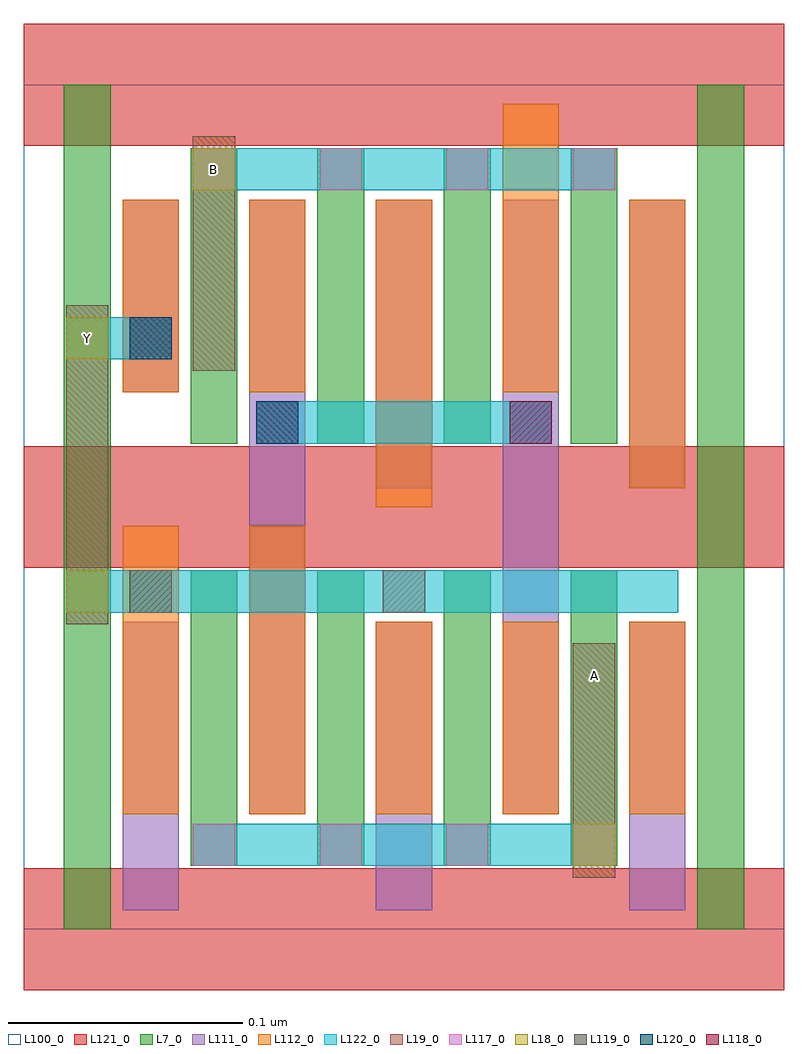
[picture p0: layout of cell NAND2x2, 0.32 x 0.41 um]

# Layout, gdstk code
import gdstk
lib = gdstk.Library(unit=1e-6, precision=2.5e-10)
def R(c, l, rs):  # rectangles x0, y0, x1, y1
    for r in rs: c.add(gdstk.rectangle(r[:2], r[2:], *l))
def A(c, l, x, y, w, h, nx, ny, dx, dy):  # array of equal rectangles
    R(c, l, [(x+i*dx, y+j*dy, x+i*dx+w, y+j*dy+h) for i in range(nx) for j in range(ny)])
L7_0 = (7, 0)
L18_0 = (18, 0)
L19_0 = (19, 0)
L100_0 = (100, 0)
L111_0 = (111, 0)
L112_0 = (112, 0)
L117_0 = (117, 0)
L118_0 = (118, 0)
L119_0 = (119, 0)
L120_0 = (120, 0)
L121_0 = (121, 0)
L122_0 = (122, 0)

nand2x2 = lib.new_cell('NAND2x2')
A(nand2x2, L7_0, 0.071, 0.027, 0.02, 0.126, 4, 2, 0.054, 0.18)
R(nand2x2, L7_0, [(0.017,0,0.037,0.18), (0.287,0,0.307,0.18), (0.017,0.18,0.037,0.36), (0.287,0.18,0.307,0.36)])
R(nand2x2, L18_0, [(0.234,0.027,0.252,0.045), (0.018,0.135,0.036,0.153), (0.018,0.243,0.036,0.261), (0.072,0.315,0.09,0.333)])
R(nand2x2, L19_0, [(0.234,0.022,0.252,0.122), (0.018,0.13,0.036,0.266), (0.072,0.238,0.09,0.338)])
R(nand2x2, L100_0, [(0,0,0.324,0.36)])
A(nand2x2, L111_0, 0.042, 0.008, 0.024, 0.123, 3, 1, 0.108, 0)
R(nand2x2, L111_0, [(0.096,0.049,0.12,0.18), (0.204,0.049,0.228,0.18), (0.096,0.18,0.12,0.311), (0.204,0.18,0.228,0.311), (0.15,0.188,0.174,0.311), (0.258,0.188,0.282,0.311), (0.042,0.229,0.066,0.311)])
A(nand2x2, L112_0, 0.15, 0.049, 0.024, 0.082, 3, 1, 0.054, 0)
R(nand2x2, L112_0, [(0.042,0.049,0.066,0.172), (0.096,0.049,0.12,0.172), (0.15,0.18,0.174,0.311), (0.258,0.188,0.282,0.311), (0.042,0.229,0.066,0.311), (0.096,0.229,0.12,0.311), (0.204,0.229,0.228,0.352)])
A(nand2x2, L117_0, 0.072, 0.027, 0.018, 0.018, 4, 2, 0.054, 0.288)
R(nand2x2, L118_0, [(0.207,0.207,0.225,0.225)])
R(nand2x2, L119_0, [(0.045,0.135,0.063,0.153), (0.153,0.135,0.171,0.153), (0.099,0.207,0.117,0.225), (0.045,0.243,0.063,0.261)])
R(nand2x2, L120_0, [(0.099,0.207,0.117,0.225), (0.045,0.243,0.063,0.261)])
A(nand2x2, L121_0, 0, -0.026, 0.324, 0.052, 1, 3, 0, 0.18)
R(nand2x2, L122_0, [(0.072,0.027,0.252,0.045), (0.018,0.135,0.279,0.153), (0.099,0.207,0.225,0.225), (0.018,0.243,0.063,0.261), (0.072,0.315,0.252,0.333)])
nand2x2.add(gdstk.Label('Y', (0.027,0.252), layer=19, texttype=251))
nand2x2.add(gdstk.Label('B', (0.081,0.324), layer=19, texttype=251))
nand2x2.add(gdstk.Label('A', (0.243,0.108), layer=19, texttype=251))

lib.write_gds('NAND2x2.gds')
